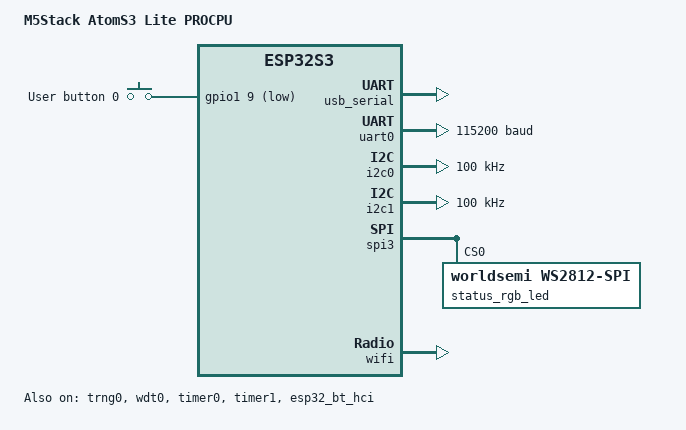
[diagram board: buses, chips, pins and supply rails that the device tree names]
/*
 * Copyright (c) 2023 Benjamin Cabé <benjamin@zephyrproject.org>
 * Copyright (c) 2023 Martin Kiepfer <mrmarteng@teleschirm.org>
 *
 * SPDX-License-Identifier: Apache-2.0
 */
/dts-v1/;

#include <espressif/esp32s3/esp32s3_fn8.dtsi>
#include "m5stack_atoms3_lite-pinctrl.dtsi"
#include <dt-bindings/led/led.h>
#include <dt-bindings/led/worldsemi_ws2812c.h>
#include <zephyr/dt-bindings/input/input-event-codes.h>
#include <espressif/partitions_0x0_amp.dtsi>

/ {
	model = "M5Stack AtomS3 Lite PROCPU";
	compatible = "m5stack,atoms3_lite";

	chosen {
		zephyr,sram = &sram1;
		zephyr,console = &usb_serial;
		zephyr,shell-uart = &usb_serial;
		zephyr,flash = &flash0;
		zephyr,code-partition = &slot0_partition;
		zephyr,bt-hci = &esp32_bt_hci;
	};

	aliases {
		sw0 = &user_button_0;
		watchdog0 = &wdt0;
		i2c-0 = &i2c0;
		led-strip = &status_rgb_led;
	};

	buttons {
		compatible = "gpio-keys";
		debounce-interval-ms = <100>;

		user_button_0: button_0 {
			label = "User button 0";
			gpios = <&gpio1 9 (GPIO_PULL_UP | GPIO_ACTIVE_LOW)>;
			zephyr,code = <INPUT_KEY_0>;
		};
	};
};

&usb_serial {
	status = "okay";
};

&uart0 {
	status = "okay";
	current-speed = <115200>;
	pinctrl-0 = <&uart0_default>;
	pinctrl-names = "default";
};

&i2c0 {
	status = "okay";
	clock-frequency = <I2C_BITRATE_STANDARD>;
	pinctrl-0 = <&i2c0_default>;
	pinctrl-names = "default";
};

&i2c1 {
	status = "okay";
	clock-frequency = <I2C_BITRATE_STANDARD>;
	pinctrl-0 = <&i2c1_default>;
	pinctrl-names = "default";
};

&trng0 {
	status = "okay";
};

&spi3 {
	#address-cells = <1>;
	#size-cells = <0>;
	status = "okay";
	line-idle-low;
	pinctrl-0 = <&spim3_ws2812_led>;
	pinctrl-names = "default";

	status_rgb_led: ws2812@0 {
		compatible = "worldsemi,ws2812-spi";
		reg = <0>;
		spi-max-frequency = <WS2812C_SPI_FREQ>;

		chain-length = <1>;
		color-mapping = <LED_COLOR_ID_GREEN>,
				<LED_COLOR_ID_RED>,
				<LED_COLOR_ID_BLUE>;
		spi-one-frame = <WS2812C_ONE_FRAME>;
		spi-zero-frame = <WS2812C_ZERO_FRAME>;
	};
};

&gpio0 {
	status = "okay";
};

&gpio1 {
	status = "okay";
};

&wdt0 {
	status = "okay";
};

&timer0 {
	status = "okay";
};

&timer1 {
	status = "okay";
};

&esp32_bt_hci {
	status = "okay";
};

&wifi {
	status = "okay";
};
